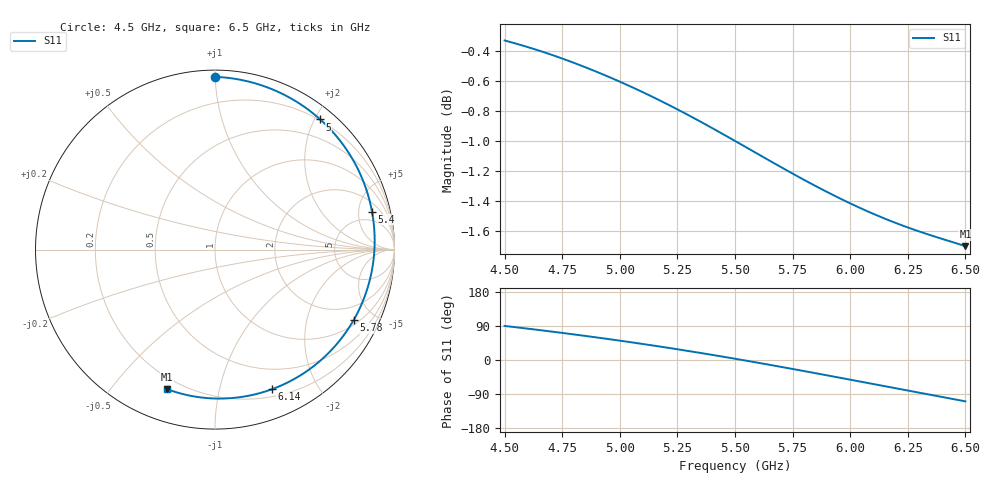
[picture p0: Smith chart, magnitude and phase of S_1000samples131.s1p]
! TOUCHSTONE file generated by CST MICROWAVE STUDIO
! Date and time: Thu Oct 27 02:35:34 2022
! Project name: L.cst
! Parameters = {Di=1.27; Epsilon_r=1.56; InnerDiameter=1.27; Length=2; Lf=10; Lg=60; OuterConductorThickness=0.2921; OuterDiameter=3.6; Wf=3; Wp=41.2; de=1.5; df=6.8; g=0.8; gx=2.89824; gy=3.1115; h=2.34; hf=1.524; px=8.0393; py=11.7522; w=9.7; wx=5.14106; wy=8.64073}
! Header version: 2018
! Port assignment regex: !\s*Touchstone port\s*([0-9]+)\s*=\s*(CST MWS port|CST DS port)\s*([0-9]+|Zmin|Zmax)\s*\(\"(.*)\"\)(\s*mode\s*([0-9]+))?.*
! Touchstone port assignment:
! Touchstone port 1 = CST MWS port 1 ("")
# GHz S DB R 50
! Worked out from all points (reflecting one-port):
!   101 points, 4.5 GHz to 6.5 GHz, reference 50 ohm
!   lowest |S11| = -1.7 dB at 6.5 GHz (marker M1), VSWR 10.23, Z = 7.32 - j35.1 ohm
!   phase of S11 starts at 90 deg and turns -199 deg over the sweep
!   S11 on the Smith chart (normalised r, x): 4.5 GHz: 0.04, +1.00; 5 GHz: 0.19, +2.08; 5.4 GHz: 3.15, +7.00; 5.78 GHz: 1.20, -3.80; 6.14 GHz: 0.27, -1.45; 6.5 GHz: 0.15, -0.70
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4.5  -0.33 89.9
4.58  -0.37 84.2
4.64  -0.40 79.8
4.76  -0.46 70.7
4.88  -0.53 61.1
5  -0.61 51.0
5.12  -0.69 40.4
5.2  -0.75 33.1
5.26  -0.80 27.4
5.34  -0.86 19.6
5.4  -0.92 13.6
5.5  -1.00 3.3
5.56  -1.05 -3.0
5.62  -1.11 -9.4
5.68  -1.16 -16.0
5.76  -1.23 -24.8
5.78  -1.24 -27.0
5.88  -1.33 -38.3
5.94  -1.37 -45.1
6  -1.42 -51.9
6.08  -1.47 -61.1
6.14  -1.51 -68.0
6.2  -1.55 -74.8
6.26  -1.58 -81.7
6.32  -1.62 -88.5
6.38  -1.65 -95.4
6.44  -1.67 -102.3
6.5  -1.70 -109.1
